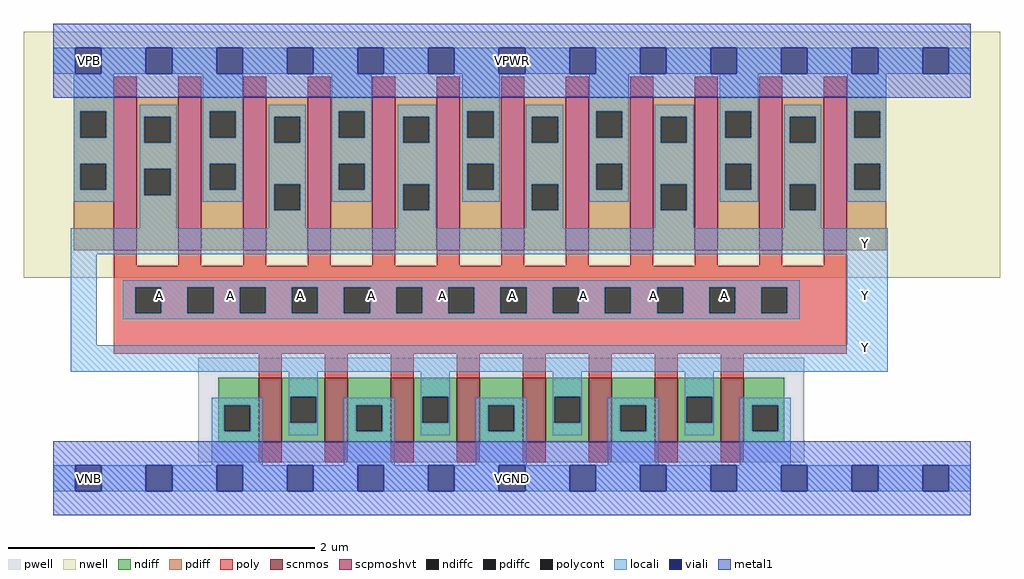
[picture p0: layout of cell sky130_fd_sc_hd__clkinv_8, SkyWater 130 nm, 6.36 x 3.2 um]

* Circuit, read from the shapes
.subckt sky130_fd_sc_hd__clkinv_8 A VGND VNB VPB VPWR Y
XM1 Y A VGND VNB sky130_fd_pr__nfet_01v8 w=0.42 l=0.15 m=8
XM2 Y A VPWR VPB sky130_fd_pr__pfet_01v8_hvt w=1 l=0.15 m=12
.ends

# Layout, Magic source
magic
tech sky130B
magscale 1 2
<< nwell >>
rect -38 261 1234 582
<< pwell >>
rect 189 21 979 157
rect 30 -17 64 17
<< scnmos >>
rect 268 47 298 131
rect 354 47 384 131
rect 440 47 470 131
rect 526 47 556 131
rect 612 47 642 131
rect 698 47 728 131
rect 784 47 814 131
rect 870 47 900 131
<< scpmoshvt >>
rect 79 297 109 497
rect 163 297 193 497
rect 248 297 278 497
rect 332 297 362 497
rect 416 297 446 497
rect 500 297 530 497
rect 584 297 614 497
rect 668 297 698 497
rect 752 297 782 497
rect 836 297 866 497
rect 920 297 950 497
rect 1004 297 1034 497
<< ndiff >>
rect 215 95 268 131
rect 215 61 223 95
rect 257 61 268 95
rect 215 47 268 61
rect 298 106 354 131
rect 298 72 309 106
rect 343 72 354 106
rect 298 47 354 72
rect 384 95 440 131
rect 384 61 395 95
rect 429 61 440 95
rect 384 47 440 61
rect 470 106 526 131
rect 470 72 481 106
rect 515 72 526 106
rect 470 47 526 72
rect 556 95 612 131
rect 556 61 567 95
rect 601 61 612 95
rect 556 47 612 61
rect 642 106 698 131
rect 642 72 653 106
rect 687 72 698 106
rect 642 47 698 72
rect 728 95 784 131
rect 728 61 739 95
rect 773 61 784 95
rect 728 47 784 61
rect 814 106 870 131
rect 814 72 825 106
rect 859 72 870 106
rect 814 47 870 72
rect 900 95 953 131
rect 900 61 911 95
rect 945 61 953 95
rect 900 47 953 61
<< pdiff >>
rect 27 478 79 497
rect 27 444 35 478
rect 69 444 79 478
rect 27 410 79 444
rect 27 376 35 410
rect 69 376 79 410
rect 27 297 79 376
rect 109 471 163 497
rect 109 437 119 471
rect 153 437 163 471
rect 109 403 163 437
rect 109 369 119 403
rect 153 369 163 403
rect 109 297 163 369
rect 193 478 248 497
rect 193 444 204 478
rect 238 444 248 478
rect 193 410 248 444
rect 193 376 204 410
rect 238 376 248 410
rect 193 297 248 376
rect 278 471 332 497
rect 278 437 288 471
rect 322 437 332 471
rect 278 383 332 437
rect 278 349 288 383
rect 322 349 332 383
rect 278 297 332 349
rect 362 478 416 497
rect 362 444 372 478
rect 406 444 416 478
rect 362 410 416 444
rect 362 376 372 410
rect 406 376 416 410
rect 362 297 416 376
rect 446 471 500 497
rect 446 437 456 471
rect 490 437 500 471
rect 446 383 500 437
rect 446 349 456 383
rect 490 349 500 383
rect 446 297 500 349
rect 530 478 584 497
rect 530 444 540 478
rect 574 444 584 478
rect 530 410 584 444
rect 530 376 540 410
rect 574 376 584 410
rect 530 297 584 376
rect 614 471 668 497
rect 614 437 624 471
rect 658 437 668 471
rect 614 383 668 437
rect 614 349 624 383
rect 658 349 668 383
rect 614 297 668 349
rect 698 478 752 497
rect 698 444 708 478
rect 742 444 752 478
rect 698 410 752 444
rect 698 376 708 410
rect 742 376 752 410
rect 698 297 752 376
rect 782 471 836 497
rect 782 437 792 471
rect 826 437 836 471
rect 782 383 836 437
rect 782 349 792 383
rect 826 349 836 383
rect 782 297 836 349
rect 866 478 920 497
rect 866 444 876 478
rect 910 444 920 478
rect 866 410 920 444
rect 866 376 876 410
rect 910 376 920 410
rect 866 297 920 376
rect 950 471 1004 497
rect 950 437 960 471
rect 994 437 1004 471
rect 950 383 1004 437
rect 950 349 960 383
rect 994 349 1004 383
rect 950 297 1004 349
rect 1034 478 1086 497
rect 1034 444 1044 478
rect 1078 444 1086 478
rect 1034 410 1086 444
rect 1034 376 1044 410
rect 1078 376 1086 410
rect 1034 297 1086 376
<< ndiffc >>
rect 223 61 257 95
rect 309 72 343 106
rect 395 61 429 95
rect 481 72 515 106
rect 567 61 601 95
rect 653 72 687 106
rect 739 61 773 95
rect 825 72 859 106
rect 911 61 945 95
<< pdiffc >>
rect 35 444 69 478
rect 35 376 69 410
rect 119 437 153 471
rect 119 369 153 403
rect 204 444 238 478
rect 204 376 238 410
rect 288 437 322 471
rect 288 349 322 383
rect 372 444 406 478
rect 372 376 406 410
rect 456 437 490 471
rect 456 349 490 383
rect 540 444 574 478
rect 540 376 574 410
rect 624 437 658 471
rect 624 349 658 383
rect 708 444 742 478
rect 708 376 742 410
rect 792 437 826 471
rect 792 349 826 383
rect 876 444 910 478
rect 876 376 910 410
rect 960 437 994 471
rect 960 349 994 383
rect 1044 444 1078 478
rect 1044 376 1078 410
<< poly >>
rect 79 497 109 523
rect 163 497 193 523
rect 248 497 278 523
rect 332 497 362 523
rect 416 497 446 523
rect 500 497 530 523
rect 584 497 614 523
rect 668 497 698 523
rect 752 497 782 523
rect 836 497 866 523
rect 920 497 950 523
rect 1004 497 1034 523
rect 79 277 109 297
rect 163 277 193 297
rect 248 277 278 297
rect 332 277 362 297
rect 416 277 446 297
rect 500 277 530 297
rect 584 277 614 297
rect 668 277 698 297
rect 752 277 782 297
rect 836 277 866 297
rect 920 277 950 297
rect 1004 277 1034 297
rect 79 249 1034 277
rect 79 215 107 249
rect 141 215 175 249
rect 209 215 243 249
rect 277 215 311 249
rect 345 215 379 249
rect 413 215 447 249
rect 481 215 515 249
rect 549 215 583 249
rect 617 215 651 249
rect 685 215 719 249
rect 753 215 787 249
rect 821 215 855 249
rect 889 215 923 249
rect 957 215 1034 249
rect 79 162 1034 215
rect 268 131 298 162
rect 354 131 384 162
rect 440 131 470 162
rect 526 131 556 162
rect 612 131 642 162
rect 698 131 728 162
rect 784 131 814 162
rect 870 131 900 162
rect 268 21 298 47
rect 354 21 384 47
rect 440 21 470 47
rect 526 21 556 47
rect 612 21 642 47
rect 698 21 728 47
rect 784 21 814 47
rect 870 21 900 47
<< polycont >>
rect 107 215 141 249
rect 175 215 209 249
rect 243 215 277 249
rect 311 215 345 249
rect 379 215 413 249
rect 447 215 481 249
rect 515 215 549 249
rect 583 215 617 249
rect 651 215 685 249
rect 719 215 753 249
rect 787 215 821 249
rect 855 215 889 249
rect 923 215 957 249
<< locali >>
rect 0 527 29 561
rect 63 527 121 561
rect 155 527 213 561
rect 247 527 305 561
rect 339 527 397 561
rect 431 527 489 561
rect 523 527 581 561
rect 615 527 673 561
rect 707 527 765 561
rect 799 527 857 561
rect 891 527 949 561
rect 983 527 1041 561
rect 1075 527 1133 561
rect 1167 527 1196 561
rect 27 478 79 527
rect 27 444 35 478
rect 69 444 79 478
rect 27 410 79 444
rect 27 376 35 410
rect 69 376 79 410
rect 27 360 79 376
rect 113 471 161 487
rect 113 437 119 471
rect 153 437 161 471
rect 113 403 161 437
rect 113 369 119 403
rect 153 369 161 403
rect 113 326 161 369
rect 195 478 247 527
rect 195 444 204 478
rect 238 444 247 478
rect 195 410 247 444
rect 195 376 204 410
rect 238 376 247 410
rect 195 360 247 376
rect 281 471 329 487
rect 281 437 288 471
rect 322 437 329 471
rect 281 383 329 437
rect 281 349 288 383
rect 322 349 329 383
rect 363 478 415 527
rect 363 444 372 478
rect 406 444 415 478
rect 363 410 415 444
rect 363 376 372 410
rect 406 376 415 410
rect 363 360 415 376
rect 449 471 499 487
rect 449 437 456 471
rect 490 437 499 471
rect 449 383 499 437
rect 281 326 329 349
rect 449 349 456 383
rect 490 349 499 383
rect 533 478 582 527
rect 533 444 540 478
rect 574 444 582 478
rect 533 410 582 444
rect 533 376 540 410
rect 574 376 582 410
rect 533 360 582 376
rect 616 471 665 487
rect 616 437 624 471
rect 658 437 665 471
rect 616 383 665 437
rect 449 326 499 349
rect 616 349 624 383
rect 658 349 665 383
rect 699 478 750 527
rect 699 444 708 478
rect 742 444 750 478
rect 699 410 750 444
rect 699 376 708 410
rect 742 376 750 410
rect 699 360 750 376
rect 784 471 835 487
rect 784 437 792 471
rect 826 437 835 471
rect 784 383 835 437
rect 616 326 665 349
rect 784 349 792 383
rect 826 349 835 383
rect 869 478 919 527
rect 869 444 876 478
rect 910 444 919 478
rect 869 410 919 444
rect 869 376 876 410
rect 910 376 919 410
rect 869 360 919 376
rect 953 471 1001 487
rect 953 437 960 471
rect 994 437 1001 471
rect 953 383 1001 437
rect 784 326 835 349
rect 953 349 960 383
rect 994 349 1001 383
rect 1035 478 1086 527
rect 1035 444 1044 478
rect 1078 444 1086 478
rect 1035 410 1086 444
rect 1035 376 1044 410
rect 1078 376 1086 410
rect 1035 360 1086 376
rect 953 326 1001 349
rect 23 292 1088 326
rect 23 173 57 292
rect 91 249 973 258
rect 91 215 107 249
rect 141 215 175 249
rect 209 215 243 249
rect 277 215 311 249
rect 345 215 379 249
rect 413 215 447 249
rect 481 215 515 249
rect 549 215 583 249
rect 617 215 651 249
rect 685 215 719 249
rect 753 215 787 249
rect 821 215 855 249
rect 889 215 923 249
rect 957 215 973 249
rect 91 207 973 215
rect 1034 173 1088 292
rect 23 139 1088 173
rect 307 106 345 139
rect 207 95 273 105
rect 207 61 223 95
rect 257 61 273 95
rect 207 17 273 61
rect 307 72 309 106
rect 343 72 345 106
rect 479 106 517 139
rect 307 56 345 72
rect 379 95 445 105
rect 379 61 395 95
rect 429 61 445 95
rect 379 17 445 61
rect 479 72 481 106
rect 515 72 517 106
rect 651 106 689 139
rect 479 56 517 72
rect 551 95 617 105
rect 551 61 567 95
rect 601 61 617 95
rect 551 17 617 61
rect 651 72 653 106
rect 687 72 689 106
rect 823 106 861 139
rect 651 56 689 72
rect 723 95 789 105
rect 723 61 739 95
rect 773 61 789 95
rect 723 17 789 61
rect 823 72 825 106
rect 859 72 861 106
rect 823 56 861 72
rect 895 95 961 105
rect 895 61 911 95
rect 945 61 961 95
rect 895 17 961 61
rect 0 -17 29 17
rect 63 -17 121 17
rect 155 -17 213 17
rect 247 -17 305 17
rect 339 -17 397 17
rect 431 -17 489 17
rect 523 -17 581 17
rect 615 -17 673 17
rect 707 -17 765 17
rect 799 -17 857 17
rect 891 -17 949 17
rect 983 -17 1041 17
rect 1075 -17 1133 17
rect 1167 -17 1196 17
<< viali >>
rect 29 527 63 561
rect 121 527 155 561
rect 213 527 247 561
rect 305 527 339 561
rect 397 527 431 561
rect 489 527 523 561
rect 581 527 615 561
rect 673 527 707 561
rect 765 527 799 561
rect 857 527 891 561
rect 949 527 983 561
rect 1041 527 1075 561
rect 1133 527 1167 561
rect 29 -17 63 17
rect 121 -17 155 17
rect 213 -17 247 17
rect 305 -17 339 17
rect 397 -17 431 17
rect 489 -17 523 17
rect 581 -17 615 17
rect 673 -17 707 17
rect 765 -17 799 17
rect 857 -17 891 17
rect 949 -17 983 17
rect 1041 -17 1075 17
rect 1133 -17 1167 17
<< metal1 >>
rect 0 561 1196 592
rect 0 527 29 561
rect 63 527 121 561
rect 155 527 213 561
rect 247 527 305 561
rect 339 527 397 561
rect 431 527 489 561
rect 523 527 581 561
rect 615 527 673 561
rect 707 527 765 561
rect 799 527 857 561
rect 891 527 949 561
rect 983 527 1041 561
rect 1075 527 1133 561
rect 1167 527 1196 561
rect 0 496 1196 527
rect 0 17 1196 48
rect 0 -17 29 17
rect 63 -17 121 17
rect 155 -17 213 17
rect 247 -17 305 17
rect 339 -17 397 17
rect 431 -17 489 17
rect 523 -17 581 17
rect 615 -17 673 17
rect 707 -17 765 17
rect 799 -17 857 17
rect 891 -17 949 17
rect 983 -17 1041 17
rect 1075 -17 1133 17
rect 1167 -17 1196 17
rect 0 -48 1196 -17
<< labels >>
flabel locali s 1042 289 1076 323 0 FreeSans 400 0 0 0 Y
port 6 nsew signal output
flabel locali s 1042 221 1076 255 0 FreeSans 400 0 0 0 Y
port 6 nsew signal output
flabel locali s 1042 153 1076 187 0 FreeSans 400 0 0 0 Y
port 6 nsew signal output
flabel locali s 490 221 524 255 0 FreeSans 400 0 0 0 A
port 1 nsew signal input
flabel locali s 398 221 432 255 0 FreeSans 400 0 0 0 A
port 1 nsew signal input
flabel locali s 306 221 340 255 0 FreeSans 400 0 0 0 A
port 1 nsew signal input
flabel locali s 214 221 248 255 0 FreeSans 400 0 0 0 A
port 1 nsew signal input
flabel locali s 858 221 892 255 0 FreeSans 400 0 0 0 A
port 1 nsew signal input
flabel locali s 766 221 800 255 0 FreeSans 400 0 0 0 A
port 1 nsew signal input
flabel locali s 674 221 708 255 0 FreeSans 400 0 0 0 A
port 1 nsew signal input
flabel locali s 582 221 616 255 0 FreeSans 400 0 0 0 A
port 1 nsew signal input
flabel locali s 122 221 156 255 0 FreeSans 400 0 0 0 A
port 1 nsew signal input
flabel pwell s 30 -17 64 17 0 FreeSans 200 0 0 0 VNB
port 3 nsew ground bidirectional
flabel nwell s 30 527 64 561 0 FreeSans 200 0 0 0 VPB
port 4 nsew power bidirectional
flabel metal1 s 30 -17 64 17 0 FreeSans 200 0 0 0 VGND
port 2 nsew ground bidirectional abutment
flabel metal1 s 30 527 64 561 0 FreeSans 200 0 0 0 VPWR
port 5 nsew power bidirectional abutment
rlabel comment s 0 0 0 0 4 clkinv_8
rlabel metal1 s 0 -48 1196 48 1 VGND
port 2 nsew ground bidirectional abutment
rlabel metal1 s 0 496 1196 592 1 VPWR
port 5 nsew power bidirectional abutment
<< properties >>
string FIXED_BBOX 0 0 1196 544
string GDS_END 3362150
string GDS_FILE $PDKPATH/libs.ref/sky130_fd_sc_hd/gds/sky130_fd_sc_hd.gds
string GDS_START 3352960
string LEFclass CORE
string LEFsite unithd
string LEFsymmetry X Y R90
string path 0.000 0.000 29.900 0.000 
<< end >>
